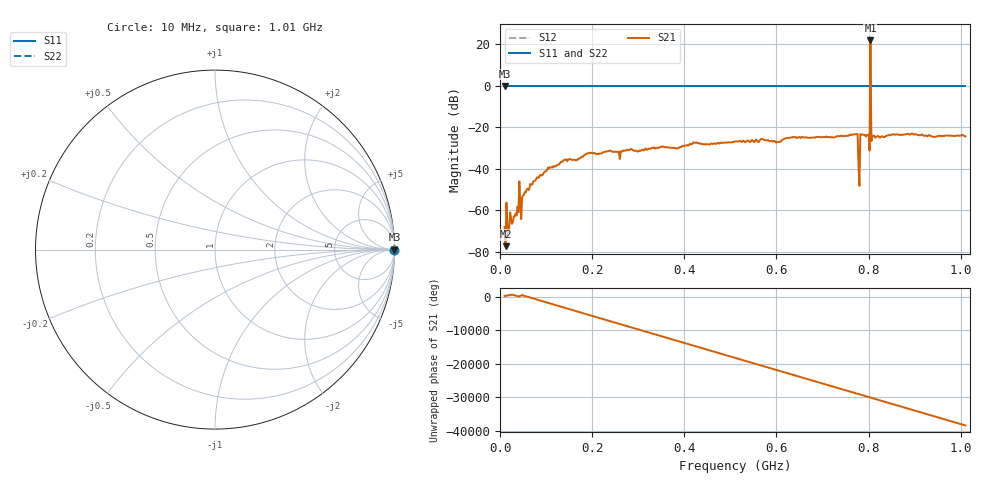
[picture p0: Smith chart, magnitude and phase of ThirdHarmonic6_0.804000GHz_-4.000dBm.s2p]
! 8/16/2025 2:47:20 AM
! C:\ANRITSUVNA\TEMP\TEMP.S2P
! CHANNEL.1
! TR.MEASUREMENT
! RAW.DATA
! RF.CORRECTION.OFF
! AVERAGING.OFF
! IF.BANDWIDTH: 5KHZ
! SWEEPTYPE:  FREQ.SWEEP(Linear)
! Reference Plane Port Info
! PORT:  PORT1  PORT2
! DISTANCE:  0  m  0  m
! TIME:  0  s  0  s
! PHASE.OFFSET:  0  deg.  0  deg.
! LOSS:  0  dB  0  dB
! REF.LOSS:  0  dB  0  dB
! REF.FREQ:  0  Hz  0  Hz
! Power Info
! POWER:  -20  dBm  -20  dBm
! EFF.POWER:  -20  dBm  -20  dBm
! SOURCE.ATTEN:  0  dB  0  dB
! TEST.ATTEN:  0  dB  0  dB
# GHZ S RI R 50.0
! FREQ.GHZ  S11RE  S11IM  S21RE  S21IM  S12RE  S12IM  S22RE  S22IM
!; PortSelection: Port_12
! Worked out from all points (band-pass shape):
!   501 points, 10 MHz to 1.01 GHz, reference 50 ohm
!   highest |S21| = 21.92 dB at 804 MHz (marker M1); lowest = -77.3 dB at 12 MHz (marker M2)
!   |S21| within 3 dB of the highest: 803.887 MHz to 804.1236 MHz (236.7 kHz wide, 0.0294 % of centre)
!   lowest |S11| = 0.0 dB at 10 MHz (marker M3)
!   |S11| at or under -10 dB: nowhere
!   |S22| runs from 0.0 to 0.0 dB; largest |S21 - S12| = 12
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0.01  1 0  -0.000381 0.000109  1 0  1 0
0.012  1 0  0.000107 -8.54e-05  1 0  1 0
0.03  1 0  0.00017 0.000692  1 0  1 0
0.038  1 0  -0.000772 0.000947  1 0  1 0
0.052  1 0  -1.81e-05 -0.00238  1 0  1 0
0.084  1 0  0.00464 0.00397  1 0  1 0
0.14  1 0  0.00445 -0.0161  1 0  1 0
0.178  1 0  -0.0191 -0.00522  1 0  1 0
0.344  1 0  0.0312 -0.00521  1 0  1 0
0.51  1 0  -0.0436 0.0141  1 0  1 0
0.678  1 0  -0.0236 -0.0517  1 0  1 0
0.772  1 0  0.0342 0.0595  1 0  1 0
0.776  1 0  -0.0168 -0.0665  1 0  1 0
0.782  1 0  0.0655 0.0212  1 0  1 0
0.786  1 0  -0.0566 -0.0369  1 0  1 0
0.798  1 0  0.00038 0.0655  1 0  1 0
0.8  1 0  0.0661 0.0114  1 0  1 0
0.804  1 0  1.986 -12.32  1 0  1 0
0.808  1 0  0.0438 0.0441  1 0  1 0
0.81  1 0  0.0506 -0.0358  1 0  1 0
0.844  1 0  0.0462 0.0455  1 0  1 0
1.01  1 0  -0.0574 -0.0182  1 0  1 0
